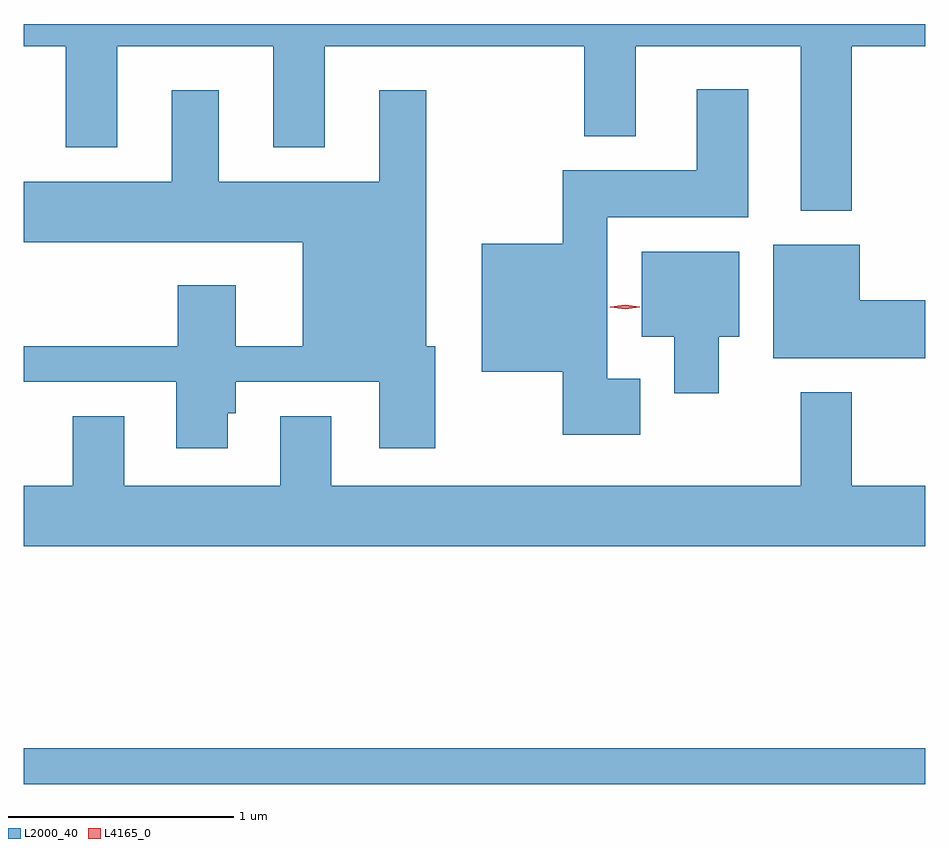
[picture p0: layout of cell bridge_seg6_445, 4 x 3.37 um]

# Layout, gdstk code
import gdstk
lib = gdstk.Library(unit=1e-6, precision=1e-09)
def R(c, l, rs):  # rectangles x0, y0, x1, y1
    for r in rs: c.add(gdstk.rectangle(r[:2], r[2:], *l))
def P(c, l, *ps):  # polygons
    for p in ps: c.add(gdstk.Polygon(p, *l))
L2000_40 = (2000, 40)
L4165_0 = (4165, 0)

bridge_seg6_445 = lib.new_cell('bridge_seg6_445')
R(bridge_seg6_445, L2000_40, [(666.524,1568.961,670.524,1569.119)])
P(bridge_seg6_445, L2000_40, [(670.199,1572.236),(670.524,1572.236),(670.524,1572.334),(666.524,1572.334),(666.524,1572.236),(666.711,1572.236),(666.711,1571.786),(666.939,1571.786),(666.939,1572.236),(667.631,1572.236),(667.631,1571.786),(667.859,1571.786),(667.859,1572.236),(669.011,1572.236),(669.011,1571.836),(669.239,1571.836),(669.239,1572.236),(669.971,1572.236),(669.971,1571.506),(670.199,1571.506)],
  [(669.259,1570.759),(669.114,1570.759),(669.114,1571.476),(669.739,1571.476),(669.739,1572.044),(669.511,1572.044),(669.511,1571.684),(668.916,1571.684),(668.916,1571.359),(668.556,1571.359),(668.556,1570.791),(668.916,1570.791),(668.916,1570.511),(669.259,1570.511)],
  [(667.429,1570.606),(667.464,1570.606),(667.464,1570.746),(668.101,1570.746),(668.101,1570.451),(668.349,1570.451),(668.349,1570.904),(668.309,1570.904),(668.309,1572.039),(668.101,1572.039),(668.101,1571.634),(667.389,1571.634),(667.389,1572.039),(667.181,1572.039),(667.181,1571.634),(666.524,1571.634),(666.524,1571.366),(667.761,1571.366),(667.761,1570.904),(667.464,1570.904),(667.464,1571.174),(667.206,1571.174),(667.206,1570.904),(666.524,1570.904),(666.524,1570.746),(667.201,1570.746),(667.201,1570.451),(667.429,1570.451)],
  [(670.524,1571.109),(670.234,1571.109),(670.234,1571.354),(669.851,1571.354),(669.851,1570.851),(670.524,1570.851)],
  [(669.609,1570.946),(669.699,1570.946),(669.699,1571.324),(669.266,1571.324),(669.266,1570.946),(669.411,1570.946),(669.411,1570.696),(669.609,1570.696)],
  [(670.524,1570.284),(670.199,1570.284),(670.199,1570.699),(669.971,1570.699),(669.971,1570.284),(667.889,1570.284),(667.889,1570.594),(667.661,1570.594),(667.661,1570.284),(666.969,1570.284),(666.969,1570.594),(666.741,1570.594),(666.741,1570.284),(666.524,1570.284),(666.524,1570.016),(670.524,1570.016)])
P(bridge_seg6_445, L4165_0, [(669.192,1571.068),(669.126,1571.078),(669.125,1571.078),(669.126,1571.079),(669.192,1571.088),(669.258,1571.079),(669.258,1571.078),(669.258,1571.078)])

lib.write_gds('bridge_seg6_445.gds')
